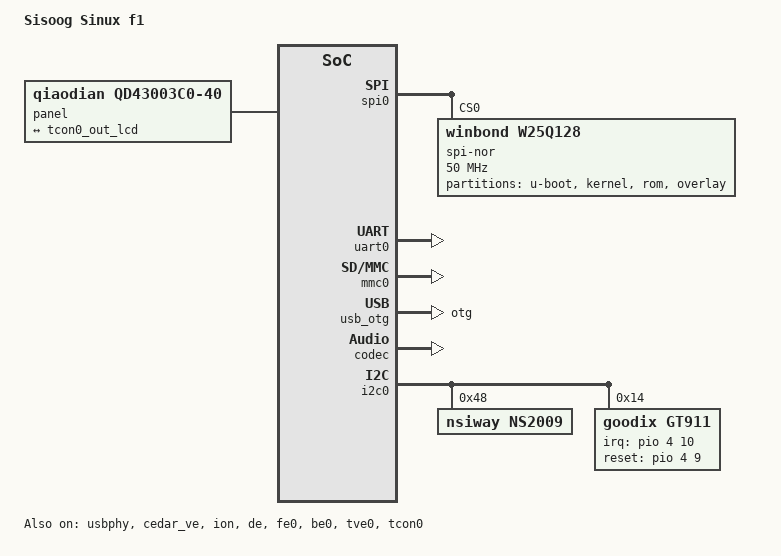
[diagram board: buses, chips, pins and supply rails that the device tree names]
// SPDX-License-Identifier: (GPL-2.0+ OR X11)

/dts-v1/;
#include "suniv-f1c100s.dtsi"

/ {
	model = "Sisoog Sinux f1";
	compatible = "allwinner,suniv-f1c100s";

	chosen {
		#address-cells = <1>;
		#size-cells = <1>;
		ranges;

		bootargs = "console=ttyS0,115200 panic=5 rootwait root=/dev/mmcblk0p3 rw";

	};

	panel: panel {
		compatible = "qiaodian,qd43003c0-40", "simple-panel";
		#address-cells = <1>;
		#size-cells = <0>;

		port@0 {
			reg = <0>;
			#address-cells = <1>;
			#size-cells = <0>;

			panel_input: endpoint@0 {
				reg = <0>;
				remote-endpoint = <&tcon0_out_lcd>;
			};
		};
	};
};

&spi0 {
	status = "okay";

	spi-nor@0 {
		#address-cells = <1>;
		#size-cells = <1>;
		compatible = "winbond,w25q128", "jedec,spi-nor";
		reg = <0>;
		spi-max-frequency = <50000000>;

		partitions {
			compatible = "fixed-partitions";
			#address-cells = <1>;
			#size-cells = <1>;

			partition@0 {
				label = "u-boot";
				reg = <0x000000 0x70000>;
				read-only;
			};

			partition@1 {
				label = "kernel";
				reg = <0x70000 0x590000>;
				read-only;
			};

			partition@2 {
				label = "rom";
				reg = <0x600000 0x700000>;
				read-only;
			};

			partition@3 {
				label = "overlay";
				reg = <0xd00000 0x300000>;
			};
		};
	};

	spi-nand@0 {
		#address-cells = <1>;
		#size-cells = <1>;
		compatible = "spi-nand";
		reg = <0>;
		spi-max-frequency = <50000000>;
		status = "disabled";

		partitions {
			compatible = "fixed-partitions";
			#address-cells = <1>;
			#size-cells = <1>;

			partition@0 {
				label = "u-boot";
				reg = <0x000000 0x100000>;
				read-only;
			};

			partition@1 {
				label = "kernel";
				reg = <0x100000 0x500000>;
				read-only;
			};

			partition@2 {
				label = "rom";
				reg = <0x600000 0x2a00000>;
				read-only;
			};

			partition@3 {
				label = "vendor";
				reg = <0x3000000 0x1000000>;
			};

			partition@4 {
				label = "overlay";
				reg = <0x4000000 0x3000000>;
			};
		};
	};
};

&uart0 {
	pinctrl-names = "default";
	pinctrl-0 = <&uart0_pe_pins>;
	status = "okay";
};

&mmc0 {
	status = "okay";
	broken-cd;
};

&otg_sram {
	status = "okay";
};

&usb_otg {
	dr_mode = "otg"; /* otg host peripheral */
	status = "okay";
};

&usbphy {
	usb0_id_det-gpio = <&pio 4 2 GPIO_ACTIVE_HIGH>; /* PE2 */
	status = "okay";
};

&cedar_ve {
	status = "okay";
};

&ion {
	status = "okay";
};

&de {
	status = "okay";
};

&fe0 {
	status = "okay";
};

&be0 {
	status = "okay";
};

&tve0 {
	status = "okay";
};

&tcon0 {
	pinctrl-names = "default";
	pinctrl-0 = <&lcd_rgb565_pins>;
	status = "okay";
};

&tcon0_out {
	tcon0_out_lcd: endpoint@0 {
		reg = <0>;
		remote-endpoint = <&panel_input>;
	};
};

&codec {
	allwinner,audio-routing =
		"Headphone", "HP",
		"Headphone", "HPCOM",
		"LINEIN", "Line In",
		"FMINL", "Left FM In",
		"FMINR", "Right FM In",
		"MIC", "Mic";
	status = "okay";
};

&pio {
	ts_reset_pin: ts_reset_pin@0 {
		pins = "PE9";
		function = "gpio_out";
	};
};


&i2c0 {
	pinctrl-names = "default";
	pinctrl-0 = <&i2c0_pe_pins>;
	status = "okay";


	ns2009: ns2009@48 {
		compatible = "nsiway,ns2009";
		reg = <0x48>;
	};

	gt911: touchscreen@14 {
		compatible = "goodix,gt911";
		reg = <0x14>;
		interrupt-parent = <&pio>;
		interrupts = <4 10 IRQ_TYPE_EDGE_FALLING>; /* (PE10) */
		pinctrl-names = "default";
		irq-gpios = <&pio 4 10 GPIO_ACTIVE_HIGH>; /* (PE10) */
		reset-gpios = <&pio 4 9 GPIO_ACTIVE_HIGH>; /* RST (PE9) */
		/* touchscreen-swapped-x-y */
	};
};

